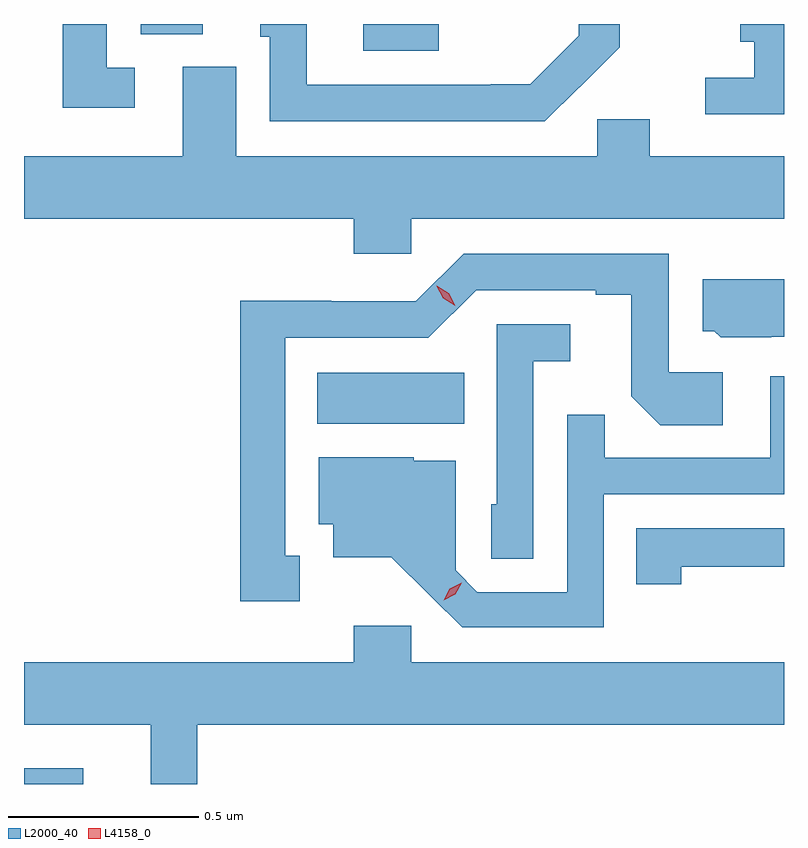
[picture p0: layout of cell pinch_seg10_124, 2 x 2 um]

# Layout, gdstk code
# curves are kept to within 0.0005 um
import gdstk
lib = gdstk.Library(unit=1e-6, precision=1e-09)
def R(c, l, rs):  # rectangles x0, y0, x1, y1
    for r in rs: c.add(gdstk.rectangle(r[:2], r[2:], *l))
def P(c, l, *ps):  # polygons
    for p in ps: c.add(gdstk.Polygon(p, *l))
L2000_40 = (2000, 40)
L4158_0 = (4158, 0)

pinch_seg10_124 = lib.new_cell('pinch_seg10_124')
R(pinch_seg10_124, L2000_40, [(717.127,1281.512,717.283,1281.553), (717.899,1282.46,718.286,1282.594), (718.02,1283.442,718.218,1283.512), (717.434,1283.485,717.598,1283.512)])
P(pinch_seg10_124, L2000_40, [(718.589,1283.347),(718.59,1283.346),(718.695,1283.451),(718.695,1283.512),(718.587,1283.512),(718.587,1283.481),(718.459,1283.353),(718.355,1283.353),(718.355,1283.352),(717.871,1283.352),(717.871,1283.512),(717.749,1283.512),(717.749,1283.478),(717.774,1283.478),(717.774,1283.256),(718.498,1283.256)],
  [(719.127,1283.512),(719.012,1283.512),(719.012,1283.465),(719.049,1283.465),(719.049,1283.37),(718.92,1283.37),(718.92,1283.274),(719.127,1283.274)],
  [(717.418,1283.397),(717.345,1283.397),(717.345,1283.512),(717.229,1283.512),(717.229,1283.292),(717.418,1283.292)],
  [(718.635,1283.262),(718.635,1283.164),(717.685,1283.164),(717.685,1283.4),(717.545,1283.4),(717.545,1283.164),(717.127,1283.164),(717.127,1283),(717.995,1283),(717.995,1282.907),(718.146,1282.907),(718.146,1283),(719.127,1283),(719.127,1283.164),(718.774,1283.164),(718.774,1283.262)],
  [(717.853,1282.113),(717.814,1282.113),(717.814,1282.686),(718.191,1282.686),(718.317,1282.812),(718.631,1282.812),(718.631,1282.8),(718.725,1282.8),(718.725,1282.532),(718.801,1282.456),(718.966,1282.456),(718.966,1282.596),(718.824,1282.596),(718.824,1282.908),(718.284,1282.908),(718.158,1282.782),(717.936,1282.782),(717.936,1282.784),(717.696,1282.784),(717.696,1281.993),(717.853,1281.993)],
  [(719.094,1282.689),(719.127,1282.689),(719.127,1282.84),(718.913,1282.84),(718.913,1282.704),(718.944,1282.704),(718.96,1282.688),(719.094,1282.688)],
  [(718.467,1282.625),(718.564,1282.625),(718.564,1282.722),(718.371,1282.722),(718.371,1282.248),(718.356,1282.248),(718.356,1282.105),(718.467,1282.105)],
  [(718.653,1282.275),(719.127,1282.275),(719.127,1282.585),(719.091,1282.585),(719.091,1282.371),(718.655,1282.371),(718.655,1282.484),(718.557,1282.484),(718.557,1282.017),(718.32,1282.017),(718.263,1282.074),(718.263,1282.363),(718.152,1282.363),(718.152,1282.372),(717.902,1282.372),(717.902,1282.196),(717.941,1282.196),(717.941,1282.109),(718.093,1282.109),(718.28,1281.924),(718.653,1281.924)],
  [(718.857,1282.084),(719.127,1282.084),(719.127,1282.185),(718.738,1282.185),(718.738,1282.038),(718.857,1282.038)],
  [(717.583,1281.668),(719.127,1281.668),(719.127,1281.832),(718.146,1281.832),(718.146,1281.928),(717.995,1281.928),(717.995,1281.832),(717.127,1281.832),(717.127,1281.668),(717.461,1281.668),(717.461,1281.512),(717.583,1281.512)])
P(pinch_seg10_124, L4158_0, [(718.231,1281.996),(718.231,1281.996),(718.248,1282.026),(718.279,1282.041),(718.279,1282.041),(718.279,1282.041),(718.262,1282.011),(718.232,1281.996)],
  [(718.262,1282.77),(718.23,1282.79),(718.213,1282.822),(718.213,1282.823),(718.213,1282.823),(718.245,1282.803),(718.262,1282.77),(718.262,1282.77)])

lib.write_gds('pinch_seg10_124.gds')
